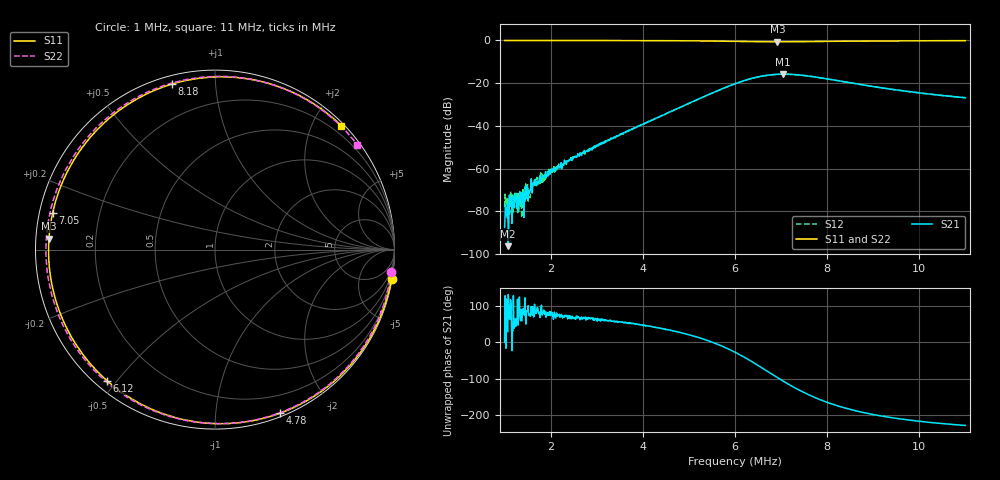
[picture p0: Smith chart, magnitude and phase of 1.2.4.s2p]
# MHz S DB R 50
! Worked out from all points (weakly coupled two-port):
!   1001 points, 1 MHz to 11 MHz, reference 50 ohm
!   highest |S21| = -15.79 dB at 7.04 MHz (marker M1); lowest = -96.3 dB at 1.08 MHz (marker M2)
!   lowest |S11| = -0.7 dB at 6.92 MHz (marker M3), VSWR 26.37, Z = 1.9 + j1.66 ohm
!   |S11| at or under -10 dB: nowhere
!   |S22| runs from -0.5 to -0.1 dB; largest |S21 - S12| = 0.0015
!   S11 on the Smith chart (normalised r, x): 1 MHz: 0, -12; 4.78 MHz: 0.03, -1.47; 6.12 MHz: 0.03, -0.47; 7.05 MHz: 0.04, +0.11; 8.18 MHz: 0.04, +0.77; 11 MHz: 0.05, +2.45
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1  -0.02 -9.5  -87.48 -0.4  -77.85 -29.6  -0.10 -7.1
1.08  -0.03 -10.3  -96.26 130.5  -73.44 38.2  -0.10 -7.7
1.33  -0.02 -12.6  -70.73 75.2  -70.67 77.5  -0.11 -9.5
1.45  -0.03 -13.8  -68.37 81.3  -68.93 63.2  -0.10 -10.3
1.56  -0.03 -14.9  -69.86 70.5  -72.37 112.3  -0.10 -11.1
1.62  -0.04 -15.5  -67.09 87.8  -66.56 85.7  -0.10 -11.6
1.74  -0.04 -16.7  -67.07 78.3  -67.09 80.7  -0.09 -12.5
2.67  -0.05 -27.1  -53.82 68.9  -53.27 68.7  -0.10 -20.5
4.34  -0.12 -56.4  -35.96 39.1  -35.91 38.8  -0.13 -44.1
4.78  -0.17 -68.5  -31.59 27.6  -31.63 27.3  -0.15 -54.8
5.41  -0.28 -91.7  -25.51 4.2  -25.53 3.8  -0.22 -77.2
6  -0.44 -122.1  -20.29 -27.5  -20.30 -27.9  -0.35 -110.8
6.12  -0.48 -129.4  -19.37 -35.5  -19.40 -35.9  -0.38 -119.6
6.56  -0.61 -158.6  -16.79 -68.3  -16.80 -68.8  -0.49 -157.2
6.92  -0.66 176.2  -15.87 -97.0  -15.87 -97.4  -0.52 169.3
7.04  -0.66 167.9  -15.79 -106.2  -15.81 -106.7  -0.51 158.5
7.05  -0.66 167.3  -15.80 -107.0  -15.81 -107.5  -0.52 157.6
7.35  -0.62 147.7  -16.10 -128.5  -16.11 -129.0  -0.47 133.2
7.67  -0.55 129.0  -16.89 -148.2  -16.90 -148.8  -0.40 111.8
8.18  -0.42 104.7  -18.65 -172.5  -18.66 -173.1  -0.30 87.0
9.34  -0.23 69.5  -22.66 154.4  -22.69 153.9  -0.19 55.9
11  -0.12 44.4  -26.85 131.9  -26.86 131.4  -0.14 36.3
